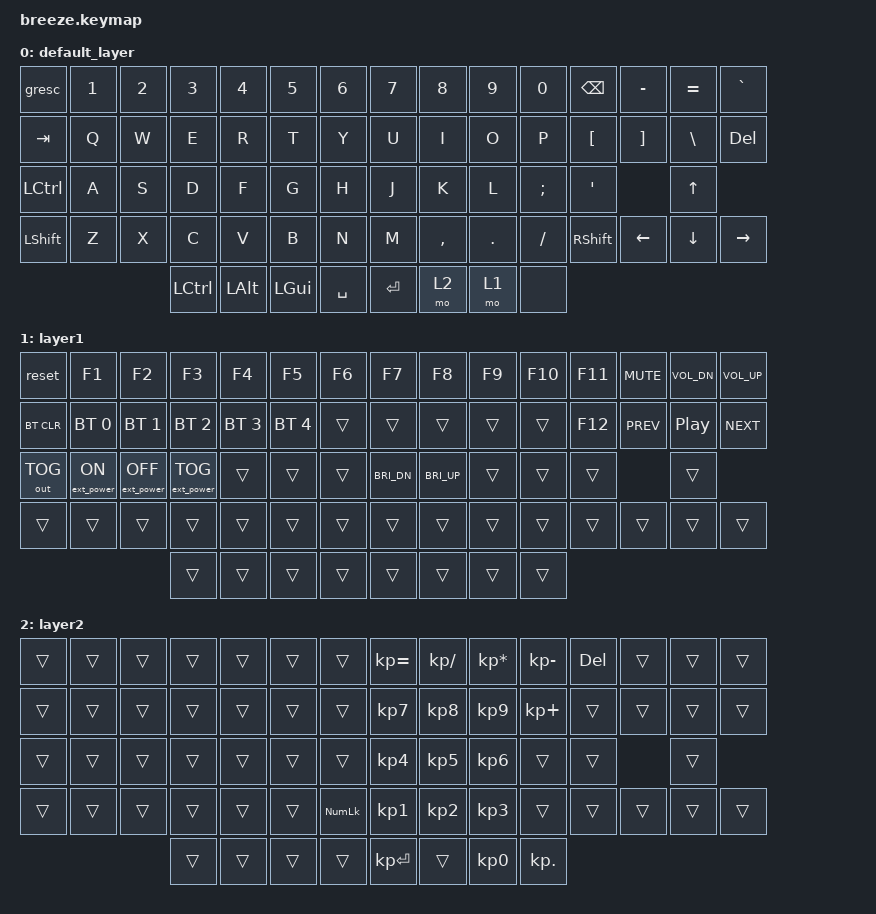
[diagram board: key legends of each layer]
/*
 * Copyright (c) 2020 The ZMK Contributors
 *
 * SPDX-License-Identifier: MIT
 */

#include <behaviors.dtsi>
#include <dt-bindings/zmk/keys.h>
#include <dt-bindings/zmk/bt.h>
#include <dt-bindings/zmk/outputs.h>
#include <dt-bindings/zmk/ext_power.h>

/ {
        keymap {
                compatible = "zmk,keymap";

                default_layer {

// Ref: https://zmkfirmware.dev/docs/codes/
// MYN: iteration 1: copy of QMK setup

// -----------------------------------------------------------------------------------------------------------------------------------
// | ESC/~ |  1  |  2  |  3   |  4   |  5   |                   |   6   |  7    |  8    |  9   |   0   | BSPC  | |  -  |  =   |  `   |
// |  TAB  |  Q  |  W  |  E   |  R   |  T   |                   |   Y   |  U    |  I    |  O   |   P   |  [    | |  ]  |  \   | DEL  |
// |  CTRL |  A  |  S  |  D   |  F   |  G   |                   |   H   |  J    |  K    |  L   |   ;   |  '    | |     |  UP  |      |
// | SHIFT |  Z  |  X  |  C   |  V   |  B   |                   |   N   |  M    |  ,    |  .   |   /   | SHIFT | |  L  |  DN  |  R   |
//                     | CTRL | ALT  | GUI  |  SPACE |  | ENTER | mo(2) | mo(1) |       |
                        bindings = <
&gresc    &kp N1 &kp N2 &kp N3    &kp N4   &kp N5                     &kp N6   &kp N7   &kp N8    &kp N9  &kp N0   &kp BSPC   &kp MINUS &kp EQUAL  &kp GRAVE
&kp TAB   &kp Q  &kp W  &kp E     &kp R    &kp T                      &kp Y    &kp U    &kp I     &kp O   &kp P    &kp LBKT   &kp RBKT  &kp BSLH   &kp DEL
&kp LCTRL &kp A  &kp S  &kp D     &kp F    &kp G                      &kp H    &kp J    &kp K     &kp L   &kp SEMI &kp APOS             &kp UP 
&kp LSHFT &kp Z  &kp X  &kp C     &kp V    &kp B                      &kp N    &kp M    &kp COMMA &kp DOT &kp FSLH &kp RSHFT  &kp LEFT  &kp DOWN  &kp RIGHT
                        &kp LCTRL &kp LALT &kp LGUI &kp SPACE &kp RET &mo 2    &mo 1    &none
                        >;
                };

                layer1 {
// ---------------------------------------------------------------------------------------------------------------------------------- 
// | RESET |  F1   |  F2   |  F3   |  F4  |  F5  |                   |  F6  |  F7   |  F8   |  F9  |  F10  | F11   | | Mute | Vol- | Vol+ | 
// | BTCLR | BT1   | BT2   |  BT3  |  BT4 |  BT5 |                   |      |       |       |      |       | F12   | | Prev | Play | Next | 
// | OUT T | PWRON | PWROF | PWR T |      |      |                   |      | SCR-  | SCR+  |      |       |       | |      |      |      | 
// |       |       |       |       |      |      |                   |      |       |       |      |       |       | |      |      |      | 
//                         |       |      |      |        |  |       |      |       |       |
                        bindings = <
&reset       &kp F1           &kp F2            &kp F3            &kp F4       &kp F5                           &kp F6 &kp F7       &kp F8       &kp F9 &kp F10 &kp F11 &kp C_MUTE   &kp C_VOL_DN     &kp C_VOL_UP 
&bt BT_CLR   &bt BT_SEL 0     &bt BT_SEL 1      &bt BT_SEL 2      &bt BT_SEL 3 &bt BT_SEL 4                     &trans &trans       &trans       &trans &trans  &kp F12 &kp C_PREV   &kp C_PLAY_PAUSE &kp C_NEXT    
&out OUT_TOG &ext_power EP_ON &ext_power EP_OFF &ext_power EP_TOG &trans       &trans                           &trans &kp C_BRI_DN &kp C_BRI_UP &trans &trans  &trans               &trans 
&trans       &trans           &trans            &trans            &trans       &trans                           &trans &trans       &trans       &trans &trans  &trans  &trans       &trans           &trans 
                                                &trans            &trans       &trans        &trans   &trans    &trans &trans       &trans                  
                        >;
                };

                layer2 {
// ---------------------------------------------------------------------------------------------------------------------------------- 
// |       |     |     |      |      |      |                   |      |   =   |   /   |  *   |   -   | DEL   | |     |      |      | 
// |       |     |     |      |      |      |                   |      |   7   |   8   |  9   |   +   |       | |     |      |      | 
// |       |     |     |      |      |      |                   |      |   4   |   5   |  6   |       |       | |     |      |      | 
// |       |     |     |      |      |      |                   | NUM  |   1   |   2   |  3   |       |       | |     |      |      | 
//                     |      |      |      |        |  | N.ENT |      |   0   |   .   |
                        bindings = <
&trans    &trans &trans &trans  &trans  &trans                             &trans      &kp KP_EQUAL &kp KP_SLASH &kp KP_MULTIPLY &kp KP_MINUS &kp DEL   &trans    &trans    &trans 
&trans    &trans &trans &trans  &trans  &trans                             &trans      &kp KP_N7    &kp KP_N8    &kp KP_N9       &kp KP_PLUS  &trans    &trans    &trans    &trans 
&trans    &trans &trans &trans  &trans  &trans                             &trans      &kp KP_N4    &kp KP_N5    &kp KP_N6       &trans       &trans              &trans 
&trans    &trans &trans &trans  &trans  &trans                             &kp KP_NUM  &kp KP_N1    &kp KP_N2    &kp KP_N3       &trans       &trans    &trans    &trans    &trans 
                        &trans  &trans  &trans    &trans   &kp KP_ENTER    &trans      &kp KP_N0    &kp KP_DOT
                        >;
                };
        };
};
